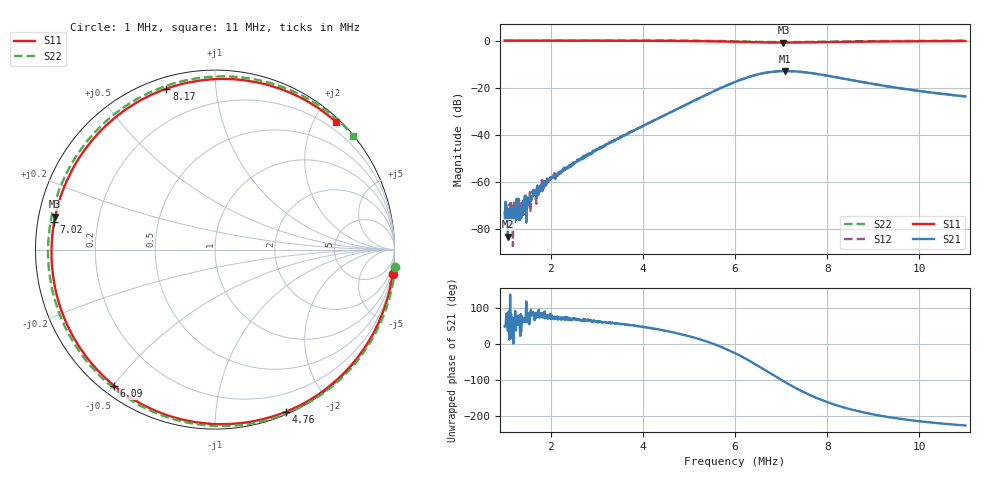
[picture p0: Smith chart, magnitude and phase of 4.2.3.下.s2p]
# MHz S DB R 50
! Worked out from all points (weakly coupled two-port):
!   1001 points, 1 MHz to 11 MHz, reference 50 ohm
!   highest |S21| = -12.87 dB at 7.08 MHz (marker M1); lowest = -83.1 dB at 1.07 MHz (marker M2)
!   lowest |S11| = -0.8 dB at 7.05 MHz (marker M3), VSWR 21.00, Z = 2.41 + j5.1 ohm
!   |S11| at or under -10 dB: nowhere
!   |S22| runs from -0.6 to 0.1 dB; largest |S21 - S12| = 0.0047
!   S11 on the Smith chart (normalised r, x): 1 MHz: 0, -14; 4.76 MHz: 0.02, -1.53; 6.09 MHz: 0.04, -0.50; 7.02 MHz: 0.05, +0.08; 8.17 MHz: 0.05, +0.74; 11 MHz: 0.06, +2.33
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1  -0.01 -7.9  -72.82 48.9  -76.19 100.7  0.08 -5.6
1.07  -0.01 -8.6  -83.08 35.9  -72.88 86.2  0.08 -6.1
1.1  -0.01 -8.9  -71.86 12.2  -70.21 86.8  0.08 -6.3
1.23  -0.01 -10.1  -73.23 91.6  -71.59 14.7  0.08 -7.1
1.28  -0.01 -10.5  -68.63 52.5  -76.66 104.0  0.08 -7.5
1.37  -0.01 -11.4  -74.81 78.2  -68.78 77.6  0.08 -8.1
1.92  -0.01 -16.8  -58.51 79.6  -59.03 88.4  0.08 -12.2
2.67  -0.03 -25.5  -49.58 66.3  -49.92 67.1  0.07 -18.8
4.34  -0.08 -54.6  -32.89 40.6  -32.94 41.3  0.05 -41.8
4.76  -0.12 -66.2  -28.89 28.9  -28.86 30.3  0.03 -51.5
5.4  -0.25 -89.9  -22.75 6.1  -22.75 7.2  -0.06 -72.9
6  -0.46 -121.1  -17.51 -25.5  -17.51 -24.4  -0.25 -104.8
6.09  -0.50 -126.5  -16.82 -31.4  -16.82 -30.1  -0.29 -111.0
6.62  -0.74 -161.9  -13.76 -69.7  -13.76 -68.6  -0.54 -153.9
7.02  -0.82 170.3  -12.89 -100.8  -12.89 -99.6  -0.64 169.9
7.05  -0.83 168.3  -12.88 -103.1  -12.88 -102.0  -0.64 167.2
7.08  -0.83 166.3  -12.87 -105.3  -12.88 -104.1  -0.64 164.6
7.67  -0.72 130.5  -13.79 -144.4  -13.79 -143.2  -0.50 120.1
8.17  -0.57 106.8  -15.44 -168.8  -15.45 -167.6  -0.35 94.0
8.72  -0.43 87.4  -17.41 171.9  -17.41 173.2  -0.21 74.7
9.34  -0.32 71.5  -19.46 156.8  -19.46 158.1  -0.13 60.3
11  -0.17 46.5  -23.63 133.8  -23.65 134.9  -0.02 39.5
